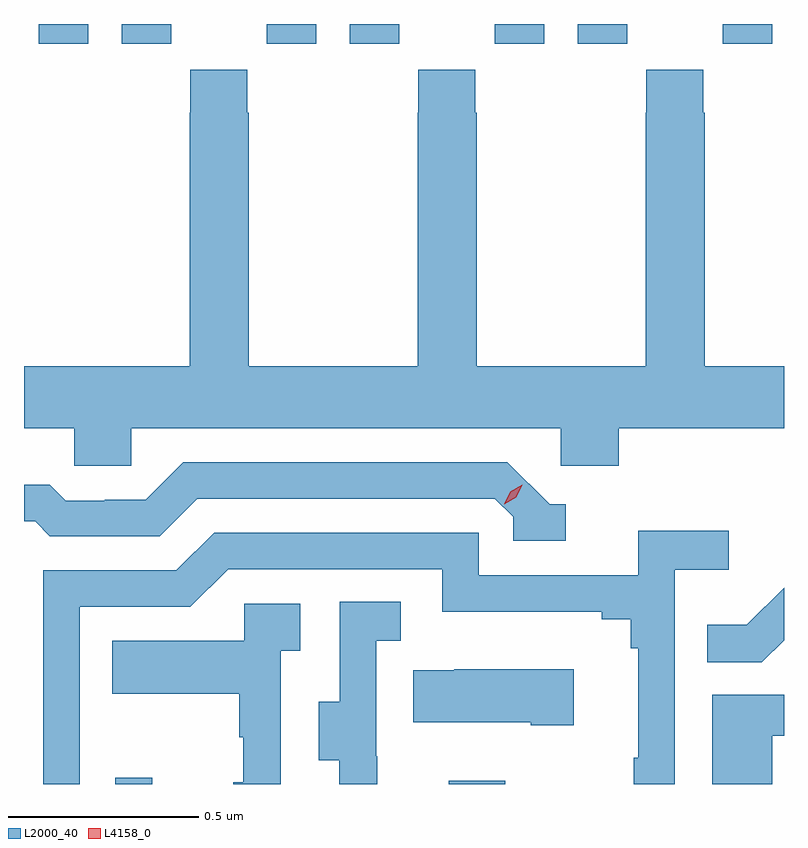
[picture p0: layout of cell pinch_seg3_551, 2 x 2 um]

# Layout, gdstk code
import gdstk
lib = gdstk.Library(unit=1e-6, precision=1e-09)
def R(c, l, rs):  # rectangles x0, y0, x1, y1
    for r in rs: c.add(gdstk.rectangle(r[:2], r[2:], *l))
def P(c, l, *ps):  # polygons
    for p in ps: c.add(gdstk.Polygon(p, *l))
L2000_40 = (2000, 40)
L4158_0 = (4158, 0)

pinch_seg3_551 = lib.new_cell('pinch_seg3_551')
R(pinch_seg3_551, L2000_40, [(1127.031,699.98,1127.129,699.997), (1127.909,699.98,1128.057,699.988), (1126.83,701.928,1126.96,701.98), (1127.048,701.928,1127.178,701.98), (1127.43,701.928,1127.56,701.98), (1127.648,701.928,1127.778,701.98), (1128.03,701.928,1128.16,701.98), (1128.248,701.928,1128.378,701.98), (1128.63,701.928,1128.76,701.98)])
P(pinch_seg3_551, L2000_40, [(1127.073,700.916),(1128.204,700.916),(1128.204,700.818),(1128.356,700.818),(1128.356,700.916),(1128.791,700.916),(1128.791,701.08),(1128.582,701.08),(1128.582,701.747),(1128.579,701.747),(1128.579,701.86),(1128.429,701.86),(1128.429,701.747),(1128.427,701.747),(1128.427,701.08),(1127.982,701.08),(1127.982,701.747),(1127.979,701.747),(1127.979,701.86),(1127.829,701.86),(1127.829,701.747),(1127.827,701.747),(1127.827,701.08),(1127.382,701.08),(1127.382,701.747),(1127.379,701.747),(1127.379,701.86),(1127.229,701.86),(1127.229,701.747),(1127.227,701.747),(1127.227,701.08),(1126.791,701.08),(1126.791,700.916),(1126.923,700.916),(1126.923,700.818),(1127.073,700.818)],
  [(1128.217,700.716),(1128.174,700.716),(1128.063,700.827),(1127.21,700.827),(1127.111,700.728),(1127.004,700.728),(1127.004,700.725),(1126.901,700.725),(1126.859,700.768),(1126.791,700.768),(1126.791,700.671),(1126.82,700.671),(1126.859,700.632),(1127.148,700.632),(1127.247,700.731),(1128.03,700.731),(1128.078,700.683),(1128.078,700.62),(1128.217,700.62)],
  [(1126.938,700.446),(1127.229,700.446),(1127.328,700.545),(1127.892,700.545),(1127.892,700.433),(1128.311,700.433),(1128.311,700.414),(1128.388,700.414),(1128.388,700.337),(1128.407,700.337),(1128.407,700.049),(1128.396,700.049),(1128.396,699.98),(1128.504,699.98),(1128.504,700.544),(1128.646,700.544),(1128.646,700.646),(1128.407,700.646),(1128.407,700.53),(1127.988,700.53),(1127.988,700.641),(1127.291,700.641),(1127.192,700.542),(1126.842,700.542),(1126.842,699.98),(1126.938,699.98)],
  [(1128.791,700.358),(1128.791,700.497),(1128.693,700.399),(1128.589,700.399),(1128.589,700.3),(1128.733,700.3)],
  [(1127.72,700.053),(1127.718,700.053),(1127.718,700.357),(1127.782,700.357),(1127.782,700.46),(1127.622,700.46),(1127.622,700.197),(1127.567,700.197),(1127.567,700.042),(1127.621,700.042),(1127.621,699.98),(1127.72,699.98)],
  [(1127.466,700.331),(1127.518,700.331),(1127.518,700.455),(1127.37,700.455),(1127.37,700.357),(1127.023,700.357),(1127.023,700.217),(1127.358,700.217),(1127.358,700.103),(1127.368,700.103),(1127.368,699.984),(1127.342,699.984),(1127.342,699.98),(1127.466,699.98)],
  [(1128.238,700.282),(1127.923,700.282),(1127.923,700.279),(1127.815,700.279),(1127.815,700.142),(1128.125,700.142),(1128.125,700.135),(1128.238,700.135)],
  [(1128.76,700.107),(1128.791,700.107),(1128.791,700.215),(1128.602,700.215),(1128.602,699.98),(1128.76,699.98)])
P(pinch_seg3_551, L4158_0, [(1128.055,700.716),(1128.055,700.716),(1128.071,700.749),(1128.102,700.768),(1128.102,700.768),(1128.102,700.768),(1128.086,700.735),(1128.055,700.716)])

lib.write_gds('pinch_seg3_551.gds')
